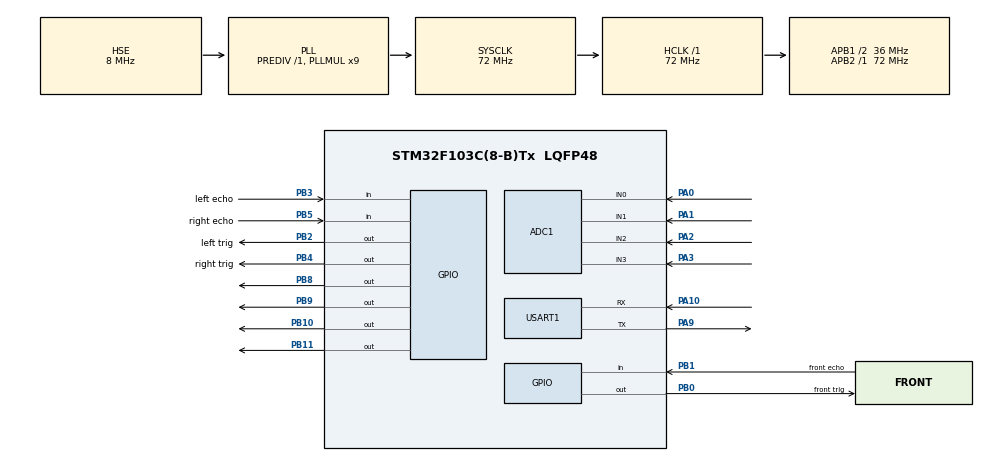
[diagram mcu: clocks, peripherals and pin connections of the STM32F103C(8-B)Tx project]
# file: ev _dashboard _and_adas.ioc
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ADC1.Channel-0\#ChannelRegularConversion=ADC_CHANNEL_0
ADC1.DiscontinuousConvMode=DISABLE
ADC1.NbrOfConversion=1
ADC1.NbrOfConversionFlag=1
ADC1.Rank-0\#ChannelRegularConversion=1
ADC1.SamplingTime-0\#ChannelRegularConversion=ADC_SAMPLETIME_1CYCLE_5
ADC1.master=1
Mcu.Family=STM32F1
Mcu.Name=STM32F103C(8-B)Tx
Mcu.Package=LQFP48
NVIC.PriorityGroup=NVIC_PRIORITYGROUP_4
NVIC.TIM1_UP_IRQn=true\:0\:0\:false\:false\:true\:true\:true\:true
NVIC.TIM3_IRQn=true\:0\:0\:false\:false\:true\:true\:true\:true
PA0-WKUP.Signal=ADCx_IN0
PA1.Signal=ADCx_IN1
PA10.Mode=Asynchronous
PA10.Signal=USART1_RX
PA2.Signal=ADCx_IN2
PA3.Signal=ADCx_IN3
PA9.Mode=Asynchronous
PA9.Signal=USART1_TX
PB0.GPIO_Label=front trig
PB0.Signal=GPIO_Output
PB1.GPIO_Label=front echo
PB1.Signal=GPIO_Input
PB10.Signal=GPIO_Output
PB11.Signal=GPIO_Output
PB2.GPIO_Label=left trig
PB2.Signal=GPIO_Output
PB3.GPIO_Label=left echo
PB3.Signal=GPIO_Input
PB4.GPIO_Label=right trig
PB4.Signal=GPIO_Output
PB5.GPIO_Label=right echo
PB5.Signal=GPIO_Input
PB8.Signal=GPIO_Output
PB9.Signal=GPIO_Output
PD0-OSC_IN.Mode=HSE-External-Oscillator
PD0-OSC_IN.Signal=RCC_OSC_IN
PD1-OSC_OUT.Mode=HSE-External-Oscillator
PD1-OSC_OUT.Signal=RCC_OSC_OUT
ProjectManager.HeapSize=0x200
ProjectManager.StackSize=0x400
ProjectManager.TargetToolchain=STM32CubeIDE
RCC.ADCPresc=RCC_ADCPCLK2_DIV6
RCC.AHBFreq_Value=72000000
RCC.APB1CLKDivider=RCC_HCLK_DIV2
RCC.APB1Freq_Value=36000000
RCC.APB1TimFreq_Value=72000000
RCC.APB2Freq_Value=72000000
RCC.APB2TimFreq_Value=72000000
RCC.HCLKFreq_Value=72000000
RCC.PLLMUL=RCC_PLL_MUL9
RCC.PLLSourceVirtual=RCC_PLLSOURCE_HSE
RCC.SYSCLKFreq_VALUE=72000000
RCC.SYSCLKSource=RCC_SYSCLKSOURCE_PLLCLK
RCC.USBFreq_Value=72000000
SH.ADCx_IN0.0=ADC1_IN0,IN0
SH.ADCx_IN1.0=ADC1_IN1,IN1
SH.ADCx_IN2.0=ADC1_IN2,IN2
SH.ADCx_IN3.0=ADC1_IN3,IN3
TIM1.Period=99
TIM1.Prescaler=7199
TIM2.Prescaler=71
TIM3.Period=999
TIM3.Prescaler=7199
USART1.VirtualMode=VM_ASYNC
VP_SYS_VS_ND.Mode=No_Debug
VP_TIM1_VS_ClockSourceINT.Mode=Internal
VP_TIM2_VS_ClockSourceINT.Mode=Internal
VP_TIM3_VS_ClockSourceINT.Mode=Internal
board=custom

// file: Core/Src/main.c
/* USER CODE BEGIN Header */
/**
  ******************************************************************************
  * @file           : main.c
  * @brief          : Main program body
  ******************************************************************************
  * @attention
  *
  * Copyright (c) 2026 STMicroelectronics.
  * All rights reserved.
  *
  * This software is licensed under terms that can be found in the LICENSE file
  * in the root directory of this software component.
  * If no LICENSE file comes with this software, it is provided AS-IS.
  *
  ******************************************************************************
  */
/* USER CODE END Header */
#include "main.h"
#include "ultrasonic.h"
#include <stdio.h>
#include <string.h>
#include "adas.h"
#include "fault.h"
#include "Uart_shell.h"
#include "ev_control.h"

/* USER CODE BEGIN PTD */
volatile uint8_t flag_ev    =0;
volatile uint8_t sensor_flag=0;

static uint8_t rx_byte;

static uint8_t ev_div   =0;
static uint8_t loop_count =0;

char msg[100];

void HAL_TIM_PeriodElapsedCallback(TIM_HandleTypeDef *htim)
{
	if(htim->Instance ==TIM1) flag_ev=1;
	if(htim->Instance ==TIM3) sensor_flag=1;
}

/* USER CODE END PTD */

ADC_HandleTypeDef hadc1;

TIM_HandleTypeDef htim1;
TIM_HandleTypeDef htim2;
TIM_HandleTypeDef htim3;

UART_HandleTypeDef huart1;

void SystemClock_Config(void);
static void MX_GPIO_Init(void);
static void MX_TIM2_Init(void);
static void MX_TIM3_Init(void);
static void MX_USART1_UART_Init(void);
static void MX_ADC1_Init(void);
static void MX_TIM1_Init(void);

int main(void)
{

  /* MCU Configuration--------------------------------------------------------*/

  /* Reset of all peripherals, Initializes the Flash interface and the Systick. */
  HAL_Init();

  /* Configure the system clock */
  SystemClock_Config();

  /* Initialize all configured peripherals */
  MX_GPIO_Init();
  MX_TIM2_Init();
  MX_TIM3_Init();
  MX_USART1_UART_Init();
  MX_ADC1_Init();
  MX_TIM1_Init();
  /* USER CODE BEGIN 2 */
  HAL_ADCEx_Calibration_Start(&hadc1);
  HAL_ADC_Start(&hadc1);
  HAL_TIM_Base_Start_IT(&htim1);
  HAL_TIM_Base_Start_IT(&htim3);
  HAL_TIM_Base_Start(&htim2);

  HAL_UART_Receive_IT(&huart1, &rx_byte, 1);

  HCSR04_Init();
  EV_Init(&ev);
  ADAS_Init(&adas);
  Fault_Init (&flt);
  Shell_Init(&huart1, &ev, &adas, &flt);//ultra sonic initialiasation
  /* USER CODE END 2 */

  /* Infinite loop */
  /* USER CODE BEGIN WHILE */
  while (1)
  {
	  if(flag_ev){
	 		  flag_ev = 0;

	 		  EV_ReadADC(&ev);
	 		  EV_Update(&ev,0.01f);
	 		  //print every 1000us (every 10ms ticks)
	 		  if (++ev_div >= 10){
	 			  ev_div = 0;

	 			  Print_Status();
           // convert into integer

    	//read hsrc data and print it

    /* USER CODE END WHILE */

    /* USER CODE BEGIN 3 */
  }
	  }
	  if (sensor_flag == 1)
	  {
		  sensor_flag = 0;
		  HCSR04_ReadAll();

		  ADAS_Update(&adas, &ev);
		  Fault_Check(&flt, &ev, &adas);

		  Shell_Process();
	  }
  }
}
			  /*split floats into integer + decimal parts*/

  /* USER CODE END 3 */

void SystemClock_Config(void)
{
  RCC_OscInitTypeDef RCC_OscInitStruct = {0};
  RCC_ClkInitTypeDef RCC_ClkInitStruct = {0};
  RCC_PeriphCLKInitTypeDef PeriphClkInit = {0};

  /** Initializes the RCC Oscillators according to the specified parameters
  * in the RCC_OscInitTypeDef structure.
  */
  RCC_OscInitStruct.OscillatorType = RCC_OSCILLATORTYPE_HSE;
  RCC_OscInitStruct.HSEState = RCC_HSE_ON;
  RCC_OscInitStruct.HSEPredivValue = RCC_HSE_PREDIV_DIV1;
  RCC_OscInitStruct.HSIState = RCC_HSI_ON;
  RCC_OscInitStruct.PLL.PLLState = RCC_PLL_ON;
  RCC_OscInitStruct.PLL.PLLSource = RCC_PLLSOURCE_HSE;
  RCC_OscInitStruct.PLL.PLLMUL = RCC_PLL_MUL9;
  if (HAL_RCC_OscConfig(&RCC_OscInitStruct) != HAL_OK)
  {
    Error_Handler();
  }

  /** Initializes the CPU, AHB and APB buses clocks
  */
  RCC_ClkInitStruct.ClockType = RCC_CLOCKTYPE_HCLK|RCC_CLOCKTYPE_SYSCLK
                              |RCC_CLOCKTYPE_PCLK1|RCC_CLOCKTYPE_PCLK2;
  RCC_ClkInitStruct.SYSCLKSource = RCC_SYSCLKSOURCE_PLLCLK;
  RCC_ClkInitStruct.AHBCLKDivider = RCC_SYSCLK_DIV1;
  RCC_ClkInitStruct.APB1CLKDivider = RCC_HCLK_DIV2;
  RCC_ClkInitStruct.APB2CLKDivider = RCC_HCLK_DIV1;

  if (HAL_RCC_ClockConfig(&RCC_ClkInitStruct, FLASH_LATENCY_2) != HAL_OK)
  {
    Error_Handler();
  }
  PeriphClkInit.PeriphClockSelection = RCC_PERIPHCLK_ADC;
  PeriphClkInit.AdcClockSelection = RCC_ADCPCLK2_DIV6;
  if (HAL_RCCEx_PeriphCLKConfig(&PeriphClkInit) != HAL_OK)
  {
    Error_Handler();
  }
}

static void MX_ADC1_Init(void)
{

  ADC_ChannelConfTypeDef sConfig = {0};

  /** Common config
  */
  hadc1.Instance = ADC1;
  hadc1.Init.ScanConvMode = ADC_SCAN_DISABLE;
  hadc1.Init.ContinuousConvMode = DISABLE;
  hadc1.Init.DiscontinuousConvMode = DISABLE;
  hadc1.Init.ExternalTrigConv = ADC_SOFTWARE_START;
  hadc1.Init.DataAlign = ADC_DATAALIGN_RIGHT;
  hadc1.Init.NbrOfConversion = 1;
  if (HAL_ADC_Init(&hadc1) != HAL_OK)
  {
    Error_Handler();
  }

  /** Configure Regular Channel
  */
  sConfig.Channel = ADC_CHANNEL_0;
  sConfig.Rank = ADC_REGULAR_RANK_1;
  sConfig.SamplingTime = ADC_SAMPLETIME_1CYCLE_5;
  if (HAL_ADC_ConfigChannel(&hadc1, &sConfig) != HAL_OK)
  {
    Error_Handler();
  }

}

static void MX_TIM1_Init(void)
{

  TIM_ClockConfigTypeDef sClockSourceConfig = {0};
  TIM_MasterConfigTypeDef sMasterConfig = {0};

  htim1.Instance = TIM1;
  htim1.Init.Prescaler = 7199;
  htim1.Init.CounterMode = TIM_COUNTERMODE_UP;
  htim1.Init.Period = 99;
  htim1.Init.ClockDivision = TIM_CLOCKDIVISION_DIV1;
  htim1.Init.RepetitionCounter = 0;
  htim1.Init.AutoReloadPreload = TIM_AUTORELOAD_PRELOAD_DISABLE;
  if (HAL_TIM_Base_Init(&htim1) != HAL_OK)
  {
    Error_Handler();
  }
  sClockSourceConfig.ClockSource = TIM_CLOCKSOURCE_INTERNAL;
  if (HAL_TIM_ConfigClockSource(&htim1, &sClockSourceConfig) != HAL_OK)
  {
    Error_Handler();
  }
  sMasterConfig.MasterOutputTrigger = TIM_TRGO_RESET;
  sMasterConfig.MasterSlaveMode = TIM_MASTERSLAVEMODE_DISABLE;
  if (HAL_TIMEx_MasterConfigSynchronization(&htim1, &sMasterConfig) != HAL_OK)
  {
    Error_Handler();
  }

}

static void MX_TIM2_Init(void)
{

  TIM_ClockConfigTypeDef sClockSourceConfig = {0};
  TIM_MasterConfigTypeDef sMasterConfig = {0};

  htim2.Instance = TIM2;
  htim2.Init.Prescaler = 71;
  htim2.Init.CounterMode = TIM_COUNTERMODE_UP;
  htim2.Init.Period = 65535;
  htim2.Init.ClockDivision = TIM_CLOCKDIVISION_DIV1;
  htim2.Init.AutoReloadPreload = TIM_AUTORELOAD_PRELOAD_DISABLE;
  if (HAL_TIM_Base_Init(&htim2) != HAL_OK)
  {
    Error_Handler();
  }
  sClockSourceConfig.ClockSource = TIM_CLOCKSOURCE_INTERNAL;
  if (HAL_TIM_ConfigClockSource(&htim2, &sClockSourceConfig) != HAL_OK)
  {
    Error_Handler();
  }
  sMasterConfig.MasterOutputTrigger = TIM_TRGO_RESET;
  sMasterConfig.MasterSlaveMode = TIM_MASTERSLAVEMODE_DISABLE;
  if (HAL_TIMEx_MasterConfigSynchronization(&htim2, &sMasterConfig) != HAL_OK)
  {
    Error_Handler();
  }

}

static void MX_TIM3_Init(void)
{

  TIM_ClockConfigTypeDef sClockSourceConfig = {0};
  TIM_MasterConfigTypeDef sMasterConfig = {0};

  htim3.Instance = TIM3;
  htim3.Init.Prescaler = 7199;
  htim3.Init.CounterMode = TIM_COUNTERMODE_UP;
  htim3.Init.Period = 999;
  htim3.Init.ClockDivision = TIM_CLOCKDIVISION_DIV1;
  htim3.Init.AutoReloadPreload = TIM_AUTORELOAD_PRELOAD_DISABLE;
  if (HAL_TIM_Base_Init(&htim3) != HAL_OK)
  {
    Error_Handler();
  }
  sClockSourceConfig.ClockSource = TIM_CLOCKSOURCE_INTERNAL;
  if (HAL_TIM_ConfigClockSource(&htim3, &sClockSourceConfig) != HAL_OK)
  {
    Error_Handler();
  }
  sMasterConfig.MasterOutputTrigger = TIM_TRGO_RESET;
  sMasterConfig.MasterSlaveMode = TIM_MASTERSLAVEMODE_DISABLE;
  if (HAL_TIMEx_MasterConfigSynchronization(&htim3, &sMasterConfig) != HAL_OK)
  {
    Error_Handler();
  }

}

static void MX_USART1_UART_Init(void)
{

  huart1.Instance = USART1;
  huart1.Init.BaudRate = 115200;
  huart1.Init.WordLength = UART_WORDLENGTH_8B;
  huart1.Init.StopBits = UART_STOPBITS_1;
  huart1.Init.Parity = UART_PARITY_NONE;
  huart1.Init.Mode = UART_MODE_TX_RX;
  huart1.Init.HwFlowCtl = UART_HWCONTROL_NONE;
  huart1.Init.OverSampling = UART_OVERSAMPLING_16;
  if (HAL_UART_Init(&huart1) != HAL_OK)
  {
    Error_Handler();
  }

}

static void MX_GPIO_Init(void)
{
  GPIO_InitTypeDef GPIO_InitStruct = {0};

  /* GPIO Ports Clock Enable */
  __HAL_RCC_GPIOD_CLK_ENABLE();
  __HAL_RCC_GPIOA_CLK_ENABLE();
  __HAL_RCC_GPIOB_CLK_ENABLE();

  /*Configure GPIO pin Output Level */
  HAL_GPIO_WritePin(GPIOB, front_trig_Pin|left_trig_Pin|GPIO_PIN_10|GPIO_PIN_11
                          |right_trig_Pin|GPIO_PIN_8|GPIO_PIN_9, GPIO_PIN_RESET);

  /*Configure GPIO pins : front_trig_Pin left_trig_Pin PB10 PB11
                           right_trig_Pin PB8 PB9 */
  GPIO_InitStruct.Pin = front_trig_Pin|left_trig_Pin|GPIO_PIN_10|GPIO_PIN_11
                          |right_trig_Pin|GPIO_PIN_8|GPIO_PIN_9;
  GPIO_InitStruct.Mode = GPIO_MODE_OUTPUT_PP;
  GPIO_InitStruct.Pull = GPIO_NOPULL;
  GPIO_InitStruct.Speed = GPIO_SPEED_FREQ_LOW;
  HAL_GPIO_Init(GPIOB, &GPIO_InitStruct);

  /*Configure GPIO pins : front_echo_Pin left_echo_Pin right_echo_Pin */
  GPIO_InitStruct.Pin = front_echo_Pin|left_echo_Pin|right_echo_Pin;
  GPIO_InitStruct.Mode = GPIO_MODE_INPUT;
  GPIO_InitStruct.Pull = GPIO_NOPULL;
  HAL_GPIO_Init(GPIOB, &GPIO_InitStruct);

}

void Error_Handler(void)
{
  __disable_irq();
  while (1)
  {
  }
}
